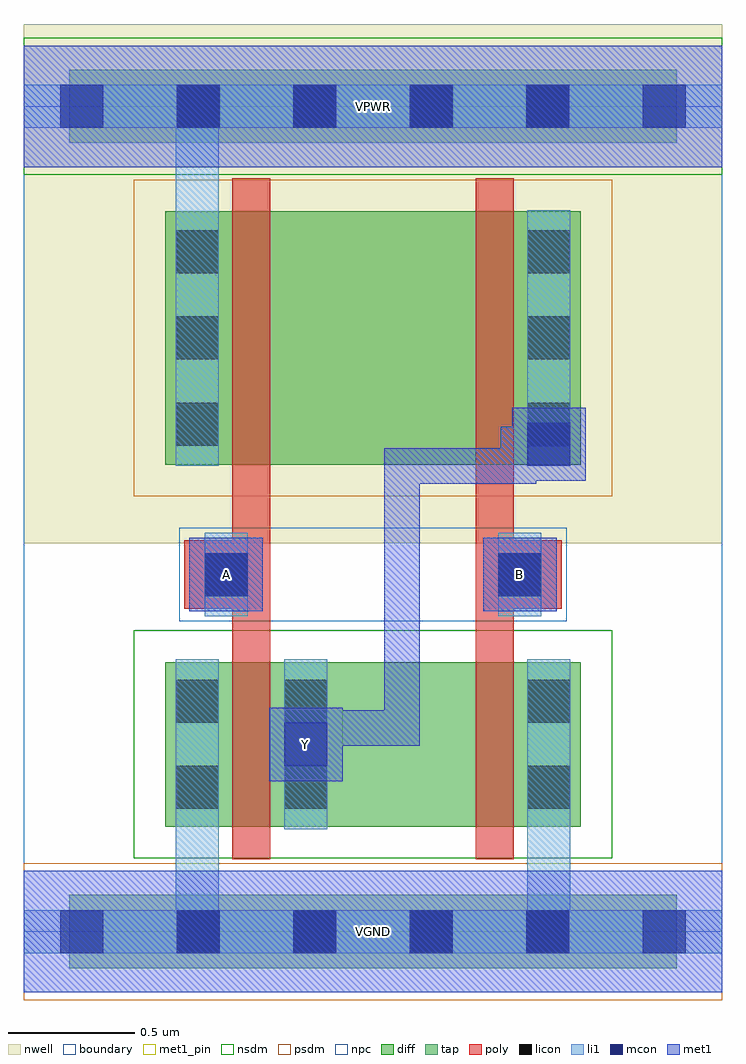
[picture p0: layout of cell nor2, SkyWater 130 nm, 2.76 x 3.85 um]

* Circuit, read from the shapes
.subckt nor2 A B VGND VPWR Y
XM1 Y A VGND VGND sky130_fd_pr__nfet_01v8 w=0.65 l=0.15
XM2 VGND B Y VGND sky130_fd_pr__nfet_01v8 w=0.65 l=0.15
XM3 n1 A VPWR VPWR sky130_fd_pr__pfet_01v8 w=1 l=0.15
XM4 Y B n1 VPWR sky130_fd_pr__pfet_01v8 w=1 l=0.15
.ends

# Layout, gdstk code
import gdstk
lib = gdstk.Library(unit=1e-6, precision=1e-09)
def R(c, l, rs):  # rectangles x0, y0, x1, y1
    for r in rs: c.add(gdstk.rectangle(r[:2], r[2:], *l))
def A(c, l, x, y, w, h, nx, ny, dx, dy):  # array of equal rectangles
    R(c, l, [(x+i*dx, y+j*dy, x+i*dx+w, y+j*dy+h) for i in range(nx) for j in range(ny)])
nwell = (64, 20)
diff = (65, 20)
tap = (65, 44)
poly = (66, 20)
licon = (66, 44)
li1 = (67, 20)
mcon = (67, 44)
met1_pin = (68, 16)
met1 = (68, 20)
nsdm = (93, 44)
psdm = (94, 20)
npc = (95, 20)
boundary = (235, 4)

nor2 = lib.new_cell('nor2')
R(nor2, nwell, [(0,1.535,2.76,3.585)])
R(nor2, diff, [(0.56,0.415,2.2,1.065), (0.56,1.845,2.2,2.845)])
R(nor2, tap, [(0.18,-0.145,2.58,0.145), (0.18,3.115,2.58,3.405)])
R(nor2, poly, [(0.825,0.285,0.975,2.975), (1.785,0.285,1.935,2.975), (0.635,1.275,0.965,1.545), (1.795,1.275,2.125,1.545)])
A(nor2, licon, 0.605, -0.085, 0.17, 0.17, 4, 2, 0.46, 3.26)
A(nor2, licon, 0.6, 1.92, 0.17, 0.17, 1, 3, 0, 0.34)
A(nor2, licon, 1.99, 1.92, 0.17, 0.17, 1, 3, 0, 0.34)
R(nor2, licon, [(0.6,0.485,0.77,0.655), (1.03,0.485,1.2,0.655), (1.99,0.485,2.16,0.655), (0.6,0.825,0.77,0.995), (1.03,0.825,1.2,0.995), (1.99,0.825,2.16,0.995), (0.715,1.325,0.885,1.495), (1.875,1.325,2.045,1.495)])
R(nor2, li1, [(0,-0.085,2.76,0.085), (0.6,-0.085,0.77,1.075), (1.99,-0.085,2.16,1.075), (0.6,0.405,0.77,1.075), (1.03,0.405,1.2,1.075), (1.99,0.405,2.16,1.075), (0.715,1.245,0.885,1.575), (1.875,1.245,2.045,1.575), (0.6,1.84,0.77,2.85), (0.6,1.84,0.77,3.345), (1.99,1.84,2.16,2.85), (0,3.175,2.76,3.345)])
A(nor2, mcon, 0.145, -0.085, 0.17, 0.17, 6, 2, 0.46, 3.26)
R(nor2, mcon, [(1.03,0.655,1.2,0.825), (0.715,1.325,0.885,1.495), (1.875,1.325,2.045,1.495), (1.99,1.84,2.16,2.01)])
R(nor2, met1_pin, [(0,-0.24,2.76,0.24), (0.97,0.595,1.26,0.885), (0.655,1.265,0.945,1.555), (1.815,1.265,2.105,1.555), (0,3.02,2.76,3.5)])
R(nor2, met1, [(0,-0.24,2.76,0.24), (0.97,0.595,1.26,0.885), (1.08,0.735,1.22,0.875), (1.08,0.735,1.565,0.875), (1.425,0.735,1.565,1.91), (0.655,1.265,0.945,1.555), (1.815,1.265,2.105,1.555), (1.425,1.77,2.025,1.91), (1.885,1.77,2.025,1.995), (1.93,1.78,2.22,2.07), (1.885,1.855,2.145,1.995), (0,3.02,2.76,3.5)])
R(nor2, nsdm, [(0.435,0.29,2.325,1.19), (0,2.99,2.76,3.53)])
R(nor2, psdm, [(0,-0.27,2.76,0.27), (0.435,1.72,2.325,2.97)])
R(nor2, npc, [(0.615,1.225,2.145,1.595)])
R(nor2, boundary, [(0,0,2.76,3.26)])
nor2.add(gdstk.Label('A', (0.8,1.41), layer=68, texttype=5))
nor2.add(gdstk.Label('B', (1.96,1.41), layer=68, texttype=5))
nor2.add(gdstk.Label('Y', (1.115,0.74), layer=68, texttype=5))
nor2.add(gdstk.Label('VPWR', (1.38,3.26), layer=68, texttype=5))
nor2.add(gdstk.Label('VGND', (1.38,0), layer=68, texttype=5))
nor2.add(gdstk.Label('A', (0.8,1.41), layer=68, texttype=16))
nor2.add(gdstk.Label('B', (1.96,1.41), layer=68, texttype=16))
nor2.add(gdstk.Label('Y', (1.115,0.74), layer=68, texttype=16))
nor2.add(gdstk.Label('VPWR', (1.38,3.26), layer=68, texttype=16))
nor2.add(gdstk.Label('VGND', (1.38,0), layer=68, texttype=16))

lib.write_gds('nor2.gds')
